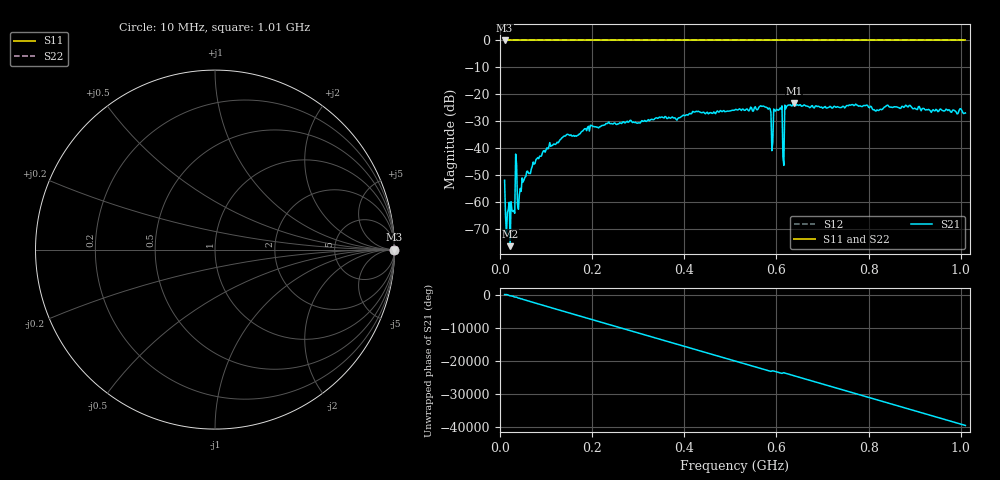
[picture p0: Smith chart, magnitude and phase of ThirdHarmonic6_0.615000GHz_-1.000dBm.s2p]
! 8/15/2025 8:11:41 PM
! C:\ANRITSUVNA\TEMP\TEMP.S2P
! CHANNEL.1
! TR.MEASUREMENT
! RAW.DATA
! RF.CORRECTION.OFF
! AVERAGING.OFF
! IF.BANDWIDTH: 5KHZ
! SWEEPTYPE:  FREQ.SWEEP(Linear)
! Reference Plane Port Info
! PORT:  PORT1  PORT2
! DISTANCE:  0  m  0  m
! TIME:  0  s  0  s
! PHASE.OFFSET:  0  deg.  0  deg.
! LOSS:  0  dB  0  dB
! REF.LOSS:  0  dB  0  dB
! REF.FREQ:  0  Hz  0  Hz
! Power Info
! POWER:  -20  dBm  -20  dBm
! EFF.POWER:  -20  dBm  -20  dBm
! SOURCE.ATTEN:  0  dB  0  dB
! TEST.ATTEN:  0  dB  0  dB
# GHZ S RI R 50.0
! FREQ.GHZ  S11RE  S11IM  S21RE  S21IM  S12RE  S12IM  S22RE  S22IM
!; PortSelection: Port_12
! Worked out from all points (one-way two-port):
!   501 points, 10 MHz to 1.01 GHz, reference 50 ohm
!   highest |S21| = -23.25 dB at 638 MHz (marker M1); lowest = -76.5 dB at 22 MHz (marker M2)
!   lowest |S11| = 0.0 dB at 10 MHz (marker M3)
!   |S11| at or under -10 dB: nowhere
!   |S22| runs from 0.0 to 0.0 dB; largest |S21 - S12| = 1.1
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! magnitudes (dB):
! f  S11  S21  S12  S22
! 10 MHz  0.0  -52.0  0.0  0.0
! 18 MHz  0.0  -62.9  0.0  0.0
! 22 MHz  0.0  -76.5  0.0  0.0
! 26 MHz  0.0  -63.2  0.0  0.0
! 32 MHz  0.0  -64.3  0.0  0.0
! 38 MHz  0.0  -61.0  0.0  0.0
! 42 MHz  0.0  -57.5  0.0  0.0
! 52 MHz  0.0  -51.9  0.0  0.0
! 82 MHz  0.0  -43.6  0.0  0.0
! 178 MHz  0.0  -33.8  0.0  0.0
! 344 MHz  0.0  -28.8  0.0  0.0
! 510 MHz  0.0  -25.8  0.0  0.0
! 576 MHz  0.0  -24.8  0.0  0.0
! 592 MHz  0.0  -37.7  0.0  0.0
! 608 MHz  0.0  -25.1  0.0  0.0
! 612 MHz  0.0  -24.3  0.0  0.0
! 618 MHz  0.0  -24.0  0.0  0.0
! 622 MHz  0.0  -24.5  0.0  0.0
! 638 MHz  0.0  -23.3  0.0  0.0
! 678 MHz  0.0  -24.2  0.0  0.0
! 844 MHz  0.0  -24.6  0.0  0.0
! 1.01 GHz  0.0  -27.0  0.0  0.0
